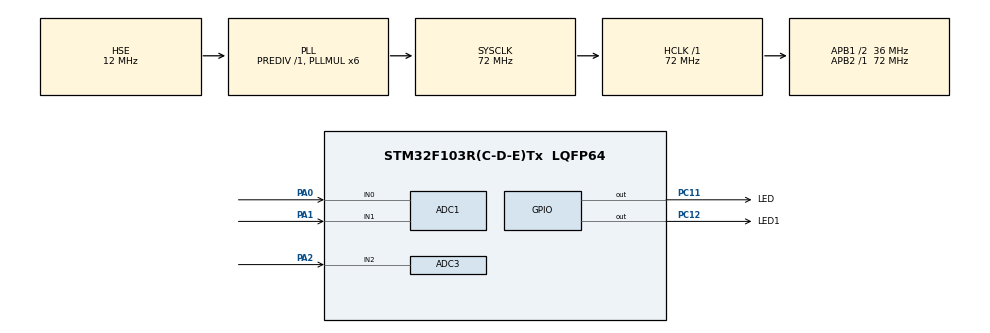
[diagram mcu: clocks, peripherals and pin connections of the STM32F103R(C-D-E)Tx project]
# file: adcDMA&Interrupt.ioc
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ADC1.Channel-0\#ChannelRegularConversion=ADC_CHANNEL_0
ADC1.Channel-2\#ChannelRegularConversion=ADC_CHANNEL_1
ADC1.ContinuousConvMode=ENABLE
ADC1.DataAlign=ADC_DATAALIGN_RIGHT
ADC1.DiscontinuousConvMode=DISABLE
ADC1.EnableAnalogWatchDog=false
ADC1.EnableRegularConversion=ENABLE
ADC1.ExternalTrigConv=ADC_SOFTWARE_START
ADC1.InjNumberOfConversion=0
ADC1.NbrOfConversion=2
ADC1.NbrOfConversionFlag=1
ADC1.Rank-0\#ChannelRegularConversion=1
ADC1.Rank-2\#ChannelRegularConversion=2
ADC1.SamplingTime-0\#ChannelRegularConversion=ADC_SAMPLETIME_239CYCLES_5
ADC1.SamplingTime-2\#ChannelRegularConversion=ADC_SAMPLETIME_239CYCLES_5
ADC1.ScanConvMode=ADC_SCAN_ENABLE
ADC1.master=1
ADC3.Channel-0\#ChannelRegularConversion=ADC_CHANNEL_2
ADC3.NbrOfConversionFlag=1
ADC3.Rank-0\#ChannelRegularConversion=1
ADC3.SamplingTime-0\#ChannelRegularConversion=ADC_SAMPLETIME_28CYCLES_5
Dma.ADC1.0.Direction=DMA_PERIPH_TO_MEMORY
Dma.ADC1.0.Instance=DMA1_Channel1
Dma.ADC1.0.MemDataAlignment=DMA_MDATAALIGN_HALFWORD
Dma.ADC1.0.MemInc=DMA_MINC_ENABLE
Dma.ADC1.0.Mode=DMA_CIRCULAR
Dma.ADC1.0.PeriphDataAlignment=DMA_PDATAALIGN_HALFWORD
Dma.ADC1.0.PeriphInc=DMA_PINC_DISABLE
Dma.ADC1.0.Priority=DMA_PRIORITY_LOW
Dma.Request0=ADC1
Mcu.Family=STM32F1
Mcu.Name=STM32F103R(C-D-E)Tx
Mcu.Package=LQFP64
NVIC.ADC3_IRQn=true\:0\:0\:false\:false\:true\:true
NVIC.DMA1_Channel1_IRQn=true\:0\:0\:false\:false\:true\:false
NVIC.PriorityGroup=NVIC_PRIORITYGROUP_4
PA0-WKUP.Signal=ADCx_IN0
PA1.Signal=ADCx_IN1
PA13.Mode=Serial_Wire
PA13.Signal=SYS_JTMS-SWDIO
PA14.Mode=Serial_Wire
PA14.Signal=SYS_JTCK-SWCLK
PA2.Signal=ADCx_IN2
PC11.GPIO_Label=LED
PC11.Signal=GPIO_Output
PC12.GPIO_Label=LED1
PC12.Signal=GPIO_Output
PD0-OSC_IN.Mode=HSE-External-Oscillator
PD0-OSC_IN.Signal=RCC_OSC_IN
PD1-OSC_OUT.Mode=HSE-External-Oscillator
PD1-OSC_OUT.Signal=RCC_OSC_OUT
ProjectManager.HeapSize=0x200
ProjectManager.StackSize=0x400
ProjectManager.TargetToolchain=MDK-ARM V5
RCC.ADCPresc=RCC_ADCPCLK2_DIV6
RCC.AHBFreq_Value=72000000
RCC.APB1CLKDivider=RCC_HCLK_DIV2
RCC.APB1Freq_Value=36000000
RCC.APB1TimFreq_Value=72000000
RCC.APB2Freq_Value=72000000
RCC.APB2TimFreq_Value=72000000
RCC.HCLKFreq_Value=72000000
RCC.HSE_VALUE=12000000
RCC.PLLMUL=RCC_PLL_MUL6
RCC.PLLSourceVirtual=RCC_PLLSOURCE_HSE
RCC.SYSCLKFreq_VALUE=72000000
RCC.SYSCLKSource=RCC_SYSCLKSOURCE_PLLCLK
RCC.USBFreq_Value=72000000
SH.ADCx_IN0.0=ADC1_IN0,IN0
SH.ADCx_IN1.0=ADC1_IN1,IN1
SH.ADCx_IN2.0=ADC3_IN2,IN2
board=adcDMA&Interrupt

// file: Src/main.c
/**
  ******************************************************************************
  * File Name          : main.c
  * Description        : Main program body
  ******************************************************************************
  ** This notice applies to any and all portions of this file
  * that are not between comment pairs USER CODE BEGIN and
  * USER CODE END. Other portions of this file, whether
  * inserted by the user or by software development tools
  * are owned by their respective copyright owners.
  *
  * COPYRIGHT(c) 2020 STMicroelectronics
  *
  * Redistribution and use in source and binary forms, with or without modification,
  * are permitted provided that the following conditions are met:
  *   1. Redistributions of source code must retain the above copyright notice,
  *      this list of conditions and the following disclaimer.
  *   2. Redistributions in binary form must reproduce the above copyright notice,
  *      this list of conditions and the following disclaimer in the documentation
  *      and/or other materials provided with the distribution.
  *   3. Neither the name of STMicroelectronics nor the names of its contributors
  *      may be used to endorse or promote products derived from this software
  *      without specific prior written permission.
  *
  * THIS SOFTWARE IS PROVIDED BY THE COPYRIGHT HOLDERS AND CONTRIBUTORS "AS IS"
  * AND ANY EXPRESS OR IMPLIED WARRANTIES, INCLUDING, BUT NOT LIMITED TO, THE
  * IMPLIED WARRANTIES OF MERCHANTABILITY AND FITNESS FOR A PARTICULAR PURPOSE ARE
  * DISCLAIMED. IN NO EVENT SHALL THE COPYRIGHT HOLDER OR CONTRIBUTORS BE LIABLE
  * FOR ANY DIRECT, INDIRECT, INCIDENTAL, SPECIAL, EXEMPLARY, OR CONSEQUENTIAL
  * DAMAGES (INCLUDING, BUT NOT LIMITED TO, PROCUREMENT OF SUBSTITUTE GOODS OR
  * SERVICES; LOSS OF USE, DATA, OR PROFITS; OR BUSINESS INTERRUPTION) HOWEVER
  * CAUSED AND ON ANY THEORY OF LIABILITY, WHETHER IN CONTRACT, STRICT LIABILITY,
  * OR TORT (INCLUDING NEGLIGENCE OR OTHERWISE) ARISING IN ANY WAY OUT OF THE USE
  * OF THIS SOFTWARE, EVEN IF ADVISED OF THE POSSIBILITY OF SUCH DAMAGE.
  *
  ******************************************************************************
  */

#include "main.h"
#include "stm32f1xx_hal.h"

/* USER CODE BEGIN Includes */
#include "stdbool.h"
volatile bool start =1;
volatile uint16_t Adc1[2];
volatile uint16_t adc2;
/* USER CODE END Includes */

ADC_HandleTypeDef hadc1;
ADC_HandleTypeDef hadc3;
DMA_HandleTypeDef hdma_adc1;

/* USER CODE BEGIN PV */
/* Private variables ---------------------------------------------------------*/

/* USER CODE END PV */

void SystemClock_Config(void);
static void MX_GPIO_Init(void);
static void MX_DMA_Init(void);
static void MX_ADC1_Init(void);
static void MX_ADC3_Init(void);

/* USER CODE BEGIN PFP */
/* Private function prototypes -----------------------------------------------*/

/* USER CODE END PFP */

/* USER CODE BEGIN 0 */
void sensor(void){
HAL_ADC_Start_DMA(&hadc1,(uint32_t*)&Adc1,2);
HAL_Delay(5);
HAL_ADC_Stop_DMA(&hadc1);

HAL_ADC_Start_IT(&hadc3);
	HAL_Delay(5);
}

/* USER CODE END 0 */

int main(void)
{

  /* MCU Configuration----------------------------------------------------------*/

  /* Reset of all peripherals, Initializes the Flash interface and the Systick. */
  HAL_Init();

  /* Configure the system clock */
  SystemClock_Config();

  /* Initialize all configured peripherals */
  MX_GPIO_Init();
  MX_DMA_Init();
  MX_ADC1_Init();
  MX_ADC3_Init();

  /* USER CODE BEGIN 2 */
	sensor();
	HAL_ADC_Start_IT(&hadc3);
  /* USER CODE END 2 */

  /* Infinite loop */
  while (1)
  {

  /* USER CODE BEGIN 3 */
		while(start){

		HAL_GPIO_TogglePin(LED1_GPIO_Port,LED1_Pin);
		HAL_Delay(100);
		HAL_GPIO_TogglePin(LED_GPIO_Port,LED_Pin);
		HAL_Delay(100);
		}

  }
  /* USER CODE END 3 */

}

/** System Clock Configuration
*/void HAL_ADC_ConvCpltCallback(ADC_HandleTypeDef* hadc)
{
	//sensor();
		if(hadc->Instance==hadc3.Instance){
			adc2= HAL_ADC_GetValue(&hadc3);
			if(adc2 > 3000){
				HAL_GPIO_WritePin(LED1_GPIO_Port,LED1_Pin,1);
				HAL_GPIO_WritePin(LED_GPIO_Port,LED_Pin,0);
				start = 0;
			}
			else {
			sensor();
			HAL_ADC_Start_IT(&hadc3);
			start=1;
			}
		}
		else HAL_ADC_Start_IT(&hadc3);

}
void SystemClock_Config(void)
{

  RCC_OscInitTypeDef RCC_OscInitStruct;
  RCC_ClkInitTypeDef RCC_ClkInitStruct;
  RCC_PeriphCLKInitTypeDef PeriphClkInit;

    /**Initializes the CPU, AHB and APB busses clocks
    */
  RCC_OscInitStruct.OscillatorType = RCC_OSCILLATORTYPE_HSE;
  RCC_OscInitStruct.HSEState = RCC_HSE_ON;
  RCC_OscInitStruct.HSEPredivValue = RCC_HSE_PREDIV_DIV1;
  RCC_OscInitStruct.HSIState = RCC_HSI_ON;
  RCC_OscInitStruct.PLL.PLLState = RCC_PLL_ON;
  RCC_OscInitStruct.PLL.PLLSource = RCC_PLLSOURCE_HSE;
  RCC_OscInitStruct.PLL.PLLMUL = RCC_PLL_MUL6;
  if (HAL_RCC_OscConfig(&RCC_OscInitStruct) != HAL_OK)
  {
    _Error_Handler(__FILE__, __LINE__);
  }

    /**Initializes the CPU, AHB and APB busses clocks
    */
  RCC_ClkInitStruct.ClockType = RCC_CLOCKTYPE_HCLK|RCC_CLOCKTYPE_SYSCLK
                              |RCC_CLOCKTYPE_PCLK1|RCC_CLOCKTYPE_PCLK2;
  RCC_ClkInitStruct.SYSCLKSource = RCC_SYSCLKSOURCE_PLLCLK;
  RCC_ClkInitStruct.AHBCLKDivider = RCC_SYSCLK_DIV1;
  RCC_ClkInitStruct.APB1CLKDivider = RCC_HCLK_DIV2;
  RCC_ClkInitStruct.APB2CLKDivider = RCC_HCLK_DIV1;

  if (HAL_RCC_ClockConfig(&RCC_ClkInitStruct, FLASH_LATENCY_2) != HAL_OK)
  {
    _Error_Handler(__FILE__, __LINE__);
  }

  PeriphClkInit.PeriphClockSelection = RCC_PERIPHCLK_ADC;
  PeriphClkInit.AdcClockSelection = RCC_ADCPCLK2_DIV6;
  if (HAL_RCCEx_PeriphCLKConfig(&PeriphClkInit) != HAL_OK)
  {
    _Error_Handler(__FILE__, __LINE__);
  }

    /**Configure the Systick interrupt time
    */
  HAL_SYSTICK_Config(HAL_RCC_GetHCLKFreq()/1000);

    /**Configure the Systick
    */
  HAL_SYSTICK_CLKSourceConfig(SYSTICK_CLKSOURCE_HCLK);

  /* SysTick_IRQn interrupt configuration */
  HAL_NVIC_SetPriority(SysTick_IRQn, 0, 0);
}

/* ADC1 init function */
static void MX_ADC1_Init(void)
{

  ADC_ChannelConfTypeDef sConfig;

    /**Common config
    */
  hadc1.Instance = ADC1;
  hadc1.Init.ScanConvMode = ADC_SCAN_ENABLE;
  hadc1.Init.ContinuousConvMode = ENABLE;
  hadc1.Init.DiscontinuousConvMode = DISABLE;
  hadc1.Init.ExternalTrigConv = ADC_SOFTWARE_START;
  hadc1.Init.DataAlign = ADC_DATAALIGN_RIGHT;
  hadc1.Init.NbrOfConversion = 2;
  if (HAL_ADC_Init(&hadc1) != HAL_OK)
  {
    _Error_Handler(__FILE__, __LINE__);
  }

    /**Configure Regular Channel
    */
  sConfig.Channel = ADC_CHANNEL_0;
  sConfig.Rank = 1;
  sConfig.SamplingTime = ADC_SAMPLETIME_239CYCLES_5;
  if (HAL_ADC_ConfigChannel(&hadc1, &sConfig) != HAL_OK)
  {
    _Error_Handler(__FILE__, __LINE__);
  }

    /**Configure Regular Channel
    */
  sConfig.Channel = ADC_CHANNEL_1;
  sConfig.Rank = 2;
  if (HAL_ADC_ConfigChannel(&hadc1, &sConfig) != HAL_OK)
  {
    _Error_Handler(__FILE__, __LINE__);
  }

}

/* ADC3 init function */
static void MX_ADC3_Init(void)
{

  ADC_ChannelConfTypeDef sConfig;

    /**Common config
    */
  hadc3.Instance = ADC3;
  hadc3.Init.ScanConvMode = ADC_SCAN_DISABLE;
  hadc3.Init.ContinuousConvMode = DISABLE;
  hadc3.Init.DiscontinuousConvMode = DISABLE;
  hadc3.Init.ExternalTrigConv = ADC_SOFTWARE_START;
  hadc3.Init.DataAlign = ADC_DATAALIGN_RIGHT;
  hadc3.Init.NbrOfConversion = 1;
  if (HAL_ADC_Init(&hadc3) != HAL_OK)
  {
    _Error_Handler(__FILE__, __LINE__);
  }

    /**Configure Regular Channel
    */
  sConfig.Channel = ADC_CHANNEL_2;
  sConfig.Rank = 1;
  sConfig.SamplingTime = ADC_SAMPLETIME_28CYCLES_5;
  if (HAL_ADC_ConfigChannel(&hadc3, &sConfig) != HAL_OK)
  {
    _Error_Handler(__FILE__, __LINE__);
  }

}

static void MX_DMA_Init(void)
{
  /* DMA controller clock enable */
  __HAL_RCC_DMA1_CLK_ENABLE();

  /* DMA interrupt init */
  /* DMA1_Channel1_IRQn interrupt configuration */
  HAL_NVIC_SetPriority(DMA1_Channel1_IRQn, 0, 0);
  HAL_NVIC_EnableIRQ(DMA1_Channel1_IRQn);

}

/** Configure pins as
        * Analog
        * Input
        * Output
        * EVENT_OUT
        * EXTI
*/
static void MX_GPIO_Init(void)
{

  GPIO_InitTypeDef GPIO_InitStruct;

  /* GPIO Ports Clock Enable */
  __HAL_RCC_GPIOD_CLK_ENABLE();
  __HAL_RCC_GPIOA_CLK_ENABLE();
  __HAL_RCC_GPIOC_CLK_ENABLE();

  /*Configure GPIO pin Output Level */
  HAL_GPIO_WritePin(GPIOC, LED_Pin|LED1_Pin, GPIO_PIN_RESET);

  /*Configure GPIO pins : LED_Pin LED1_Pin */
  GPIO_InitStruct.Pin = LED_Pin|LED1_Pin;
  GPIO_InitStruct.Mode = GPIO_MODE_OUTPUT_PP;
  GPIO_InitStruct.Speed = GPIO_SPEED_FREQ_LOW;
  HAL_GPIO_Init(GPIOC, &GPIO_InitStruct);

}

void _Error_Handler(char * file, int line)
{
  while(1)
  {
  }
}

/************************ (C) COPYRIGHT STMicroelectronics *****END OF FILE****/
